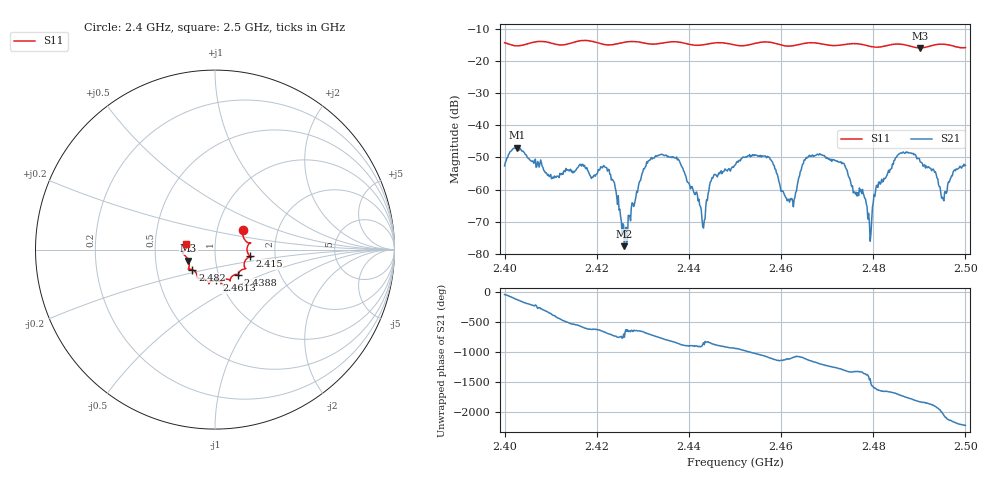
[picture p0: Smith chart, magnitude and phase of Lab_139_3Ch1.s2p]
# Hz S RI R 50
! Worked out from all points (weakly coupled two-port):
!   601 points, 2.4 GHz to 2.5 GHz, reference 50 ohm
!   highest |S21| = -46.95 dB at 2.4027 GHz (marker M1); lowest = -77.6 dB at 2.426 GHz (marker M2)
!   lowest |S11| = -15.9 dB at 2.4902 GHz (marker M3), VSWR 1.38, Z = 36.8 - j4.65 ohm
!   |S11| at or under -10 dB: start of sweep to end of sweep
!   S12 and S22 are empty: the file has one direction only
!   S11 on the Smith chart (normalised r, x): 2.4 GHz: 1.33, +0.31; 2.415 GHz: 1.47, -0.11; 2.4388 GHz: 1.24, -0.36; 2.4613 GHz: 0.96, -0.34; 2.482 GHz: 0.76, -0.17; 2.5 GHz: 0.72, +0.05
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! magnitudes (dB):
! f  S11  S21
! 2.4 GHz  -14.3  -52.6
! 2.4027 GHz  -15.3  -47.0
! 2.415 GHz  -14.2  -54.4
! 2.4167 GHz  -13.6  -52.7
! 2.4225 GHz  -15.0  -53.7
! 2.426 GHz  -14.1  -77.6
! 2.4303 GHz  -14.4  -53.6
! 2.4333 GHz  -14.6  -49.3
! 2.4388 GHz  -14.4  -54.1
! 2.4432 GHz  -14.9  -72.0
! 2.4452 GHz  -14.4  -56.5
! 2.45 GHz  -15.0  -52.4
! 2.457 GHz  -14.0  -49.7
! 2.4613 GHz  -15.3  -63.5
! 2.4667 GHz  -14.3  -49.4
! 2.4735 GHz  -14.9  -51.8
! 2.4792 GHz  -15.4  -70.1
! 2.482 GHz  -15.5  -57.6
! 2.4833 GHz  -15.0  -54.0
! 2.4902 GHz  -15.9  -51.3
! 2.4952 GHz  -14.7  -63.0
! 2.5 GHz  -15.8  -52.4
